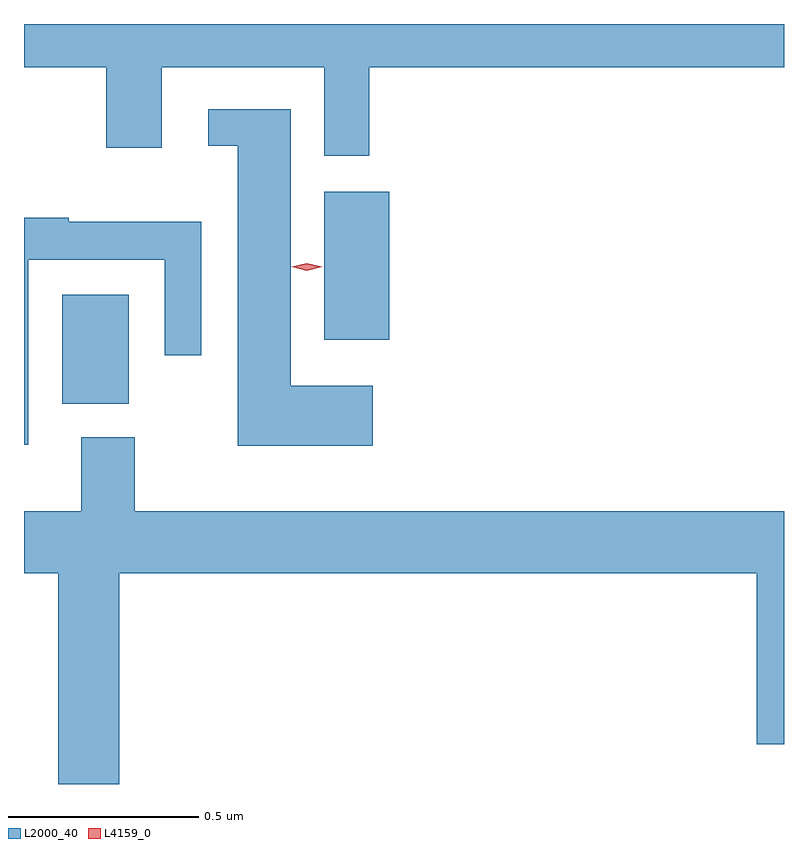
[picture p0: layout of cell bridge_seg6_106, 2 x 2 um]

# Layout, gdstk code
import gdstk
lib = gdstk.Library(unit=1e-6, precision=1e-09)
def R(c, l, rs):  # rectangles x0, y0, x1, y1
    for r in rs: c.add(gdstk.rectangle(r[:2], r[2:], *l))
def P(c, l, *ps):  # polygons
    for p in ps: c.add(gdstk.Polygon(p, *l))
L2000_40 = (2000, 40)
L4159_0 = (4159, 0)

bridge_seg6_106 = lib.new_cell('bridge_seg6_106')
R(bridge_seg6_106, L2000_40, [(469.688,933.131,469.864,933.418), (470.378,933.299,470.549,933.688)])
P(bridge_seg6_106, L2000_40, [(470.497,934.016),(471.588,934.016),(471.588,934.13),(469.588,934.13),(469.588,934.016),(469.804,934.016),(469.804,933.804),(469.951,933.804),(469.951,934.016),(470.378,934.016),(470.378,933.783),(470.497,933.783)],
  [(470.506,933.178),(470.29,933.178),(470.29,933.906),(470.073,933.906),(470.073,933.809),(470.15,933.809),(470.15,933.02),(470.506,933.02)],
  [(469.599,933.509),(469.959,933.509),(469.959,933.258),(470.055,933.258),(470.055,933.61),(469.706,933.61),(469.706,933.62),(469.588,933.62),(469.588,933.023),(469.599,933.023)],
  [(469.838,932.684),(471.516,932.684),(471.516,932.235),(471.588,932.235),(471.588,932.848),(469.879,932.848),(469.879,933.043),(469.739,933.043),(469.739,932.848),(469.588,932.848),(469.588,932.684),(469.678,932.684),(469.678,932.13),(469.838,932.13)])
P(bridge_seg6_106, L4159_0, [(470.332,933.481),(470.292,933.491),(470.292,933.491),(470.292,933.491),(470.332,933.501),(470.373,933.491),(470.373,933.491),(470.373,933.491)])

lib.write_gds('bridge_seg6_106.gds')
